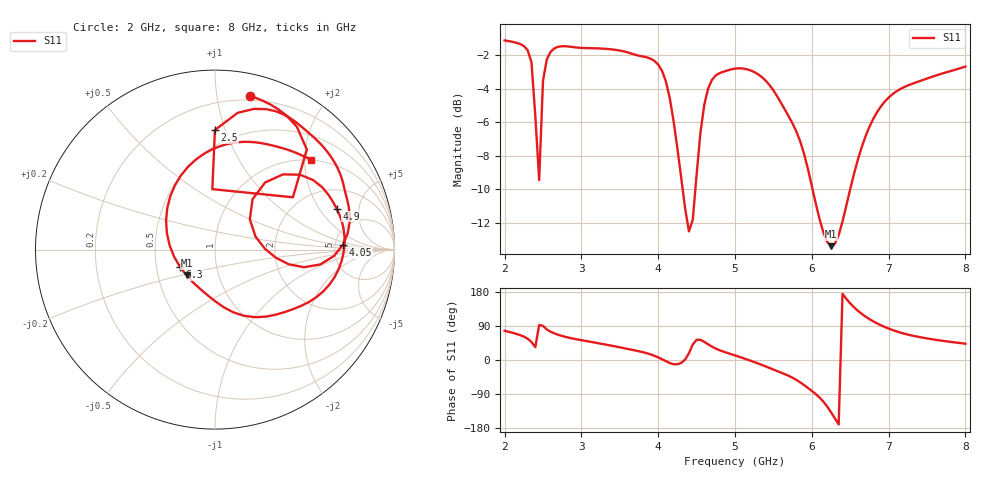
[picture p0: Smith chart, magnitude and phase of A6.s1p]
! Generated by Hertzon (EMerge FEM)
# HZ S RI R 50
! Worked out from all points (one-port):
!   121 points, 2 GHz to 8 GHz, reference 50 ohm
!   lowest |S11| = -13.4 dB at 6.25 GHz (marker M1), VSWR 1.55, Z = 35 - j10.6 ohm
!   |S11| at or under -10 dB: 4.319 GHz to 4.484 GHz (164.7 MHz wide, 3.74 % of centre); 6.01 GHz to 6.499 GHz (489 MHz wide, 7.82 % of centre)
!   S11 on the Smith chart (normalised r, x): 2 GHz: 0.17, +1.24; 2.5 GHz: 0.38, +0.92; 4.05 GHz: 5.90, +0.63; 4.9 GHz: 3.12, +2.93; 6.3 GHz: 0.66, -0.13; 8 GHz: 0.99, +2.15
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2e9  0.1973 0.8562
2.25e9  0.4 0.7454
2.35e9  0.5118 0.5574
2.4e9  0.434 0.2915
2.45e9  -0.0148 0.3368
2.5e9  -0.000416 0.6664
2.6e9  0.2168 0.7839
2.75e9  0.3793 0.7546
3.5e9  0.6842 0.4518
3.85e9  0.7445 0.2414
4.05e9  0.7125 0.0264
4.15e9  0.5868 -0.0825
4.25e9  0.4105 -0.0818
4.4e9  0.2257 0.0727
4.5e9  0.209 0.2802
4.6e9  0.379 0.4191
4.75e9  0.5984 0.3463
4.9e9  0.6774 0.229
5e9  0.7083 0.1516
5.35e9  0.6658 -0.1538
5.75e9  0.3396 -0.3624
5.95e9  0.1013 -0.3491
6.25e9  -0.1585 -0.1442
6.3e9  -0.1957 -0.0954
6.5e9  -0.2725 0.1611
6.85e9  -0.0615 0.5338
7.25e9  0.2509 0.5942
8e9  0.5371 0.501
